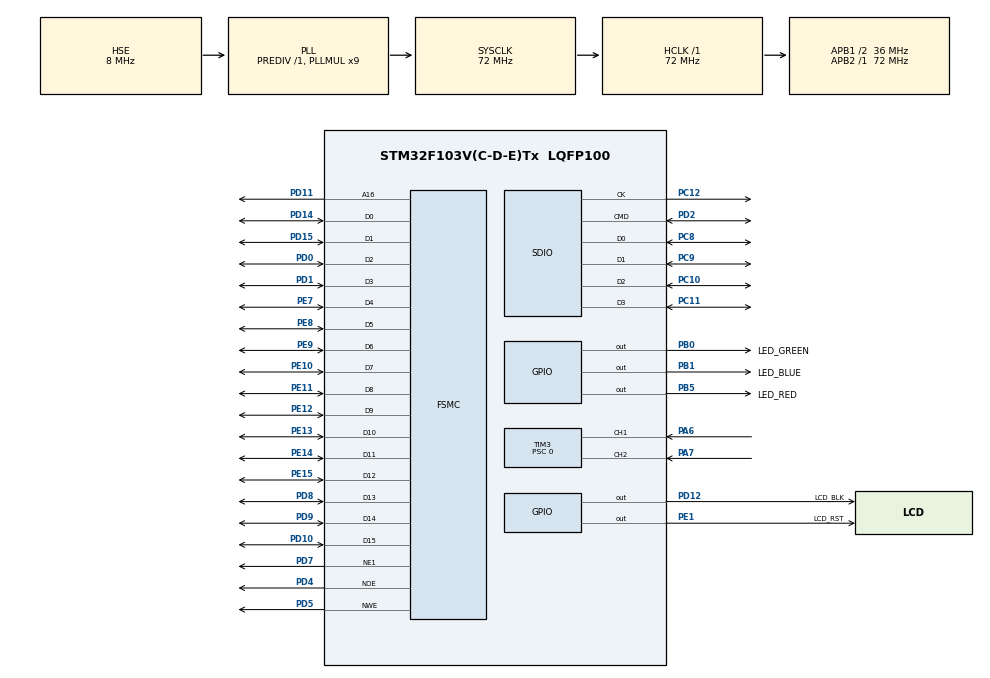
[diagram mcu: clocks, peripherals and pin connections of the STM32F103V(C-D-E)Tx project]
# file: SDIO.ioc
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FATFS._MAX_SS=4096
FATFS._USE_FIND=1
FATFS._USE_LFN=2
Mcu.Family=STM32F1
Mcu.Name=STM32F103V(C-D-E)Tx
Mcu.Package=LQFP100
NVIC.PriorityGroup=NVIC_PRIORITYGROUP_4
OSC_IN.Mode=HSE-External-Oscillator
OSC_IN.Signal=RCC_OSC_IN
OSC_OUT.Mode=HSE-External-Oscillator
OSC_OUT.Signal=RCC_OSC_OUT
PA13.Mode=Serial_Wire
PA13.Signal=SYS_JTMS-SWDIO
PA14.Mode=Serial_Wire
PA14.Signal=SYS_JTCK-SWCLK
PA6.Signal=S_TIM3_CH1
PA7.Signal=S_TIM3_CH2
PB0.GPIO_Label=LED_GREEN
PB0.GPIO_Speed=GPIO_SPEED_FREQ_HIGH
PB0.PinState=GPIO_PIN_SET
PB0.Signal=GPIO_Output
PB1.GPIO_Label=LED_BLUE
PB1.GPIO_Speed=GPIO_SPEED_FREQ_HIGH
PB1.PinState=GPIO_PIN_SET
PB1.Signal=GPIO_Output
PB5.GPIO_Label=LED_RED
PB5.GPIO_Speed=GPIO_SPEED_FREQ_HIGH
PB5.PinState=GPIO_PIN_SET
PB5.Signal=GPIO_Output
PC10.Mode=SD_4_bits_Wide_bus
PC10.Signal=SDIO_D2
PC11.Mode=SD_4_bits_Wide_bus
PC11.Signal=SDIO_D3
PC12.Mode=SD_4_bits_Wide_bus
PC12.Signal=SDIO_CK
PC14-OSC32_IN.Mode=LSE-External-Oscillator
PC14-OSC32_IN.Signal=RCC_OSC32_IN
PC15-OSC32_OUT.Mode=LSE-External-Oscillator
PC15-OSC32_OUT.Signal=RCC_OSC32_OUT
PC8.Mode=SD_4_bits_Wide_bus
PC8.Signal=SDIO_D0
PC9.Mode=SD_4_bits_Wide_bus
PC9.Signal=SDIO_D1
PD0.Mode=16b-d1
PD0.Signal=FSMC_D2
PD1.Mode=16b-d1
PD1.Signal=FSMC_D3
PD10.Mode=16b-d1
PD10.Signal=FSMC_D15
PD11.Mode=A16_1
PD11.Signal=FSMC_A16
PD12.GPIO_Label=LCD_BLK
PD12.GPIO_Speed=GPIO_SPEED_FREQ_HIGH
PD12.Signal=GPIO_Output
PD14.Mode=16b-d1
PD14.Signal=FSMC_D0
PD15.Mode=16b-d1
PD15.Signal=FSMC_D1
PD2.Mode=SD_4_bits_Wide_bus
PD2.Signal=SDIO_CMD
PD4.Mode=Lcd1
PD4.Signal=FSMC_NOE
PD5.Mode=Lcd1
PD5.Signal=FSMC_NWE
PD7.Mode=NorPsramChipSelect1_1
PD7.Signal=FSMC_NE1
PD8.Mode=16b-d1
PD8.Signal=FSMC_D13
PD9.Mode=16b-d1
PD9.Signal=FSMC_D14
PE1.GPIO_Label=LCD_RST
PE1.GPIO_Speed=GPIO_SPEED_FREQ_HIGH
PE1.Signal=GPIO_Output
PE10.Mode=16b-d1
PE10.Signal=FSMC_D7
PE11.Mode=16b-d1
PE11.Signal=FSMC_D8
PE12.Mode=16b-d1
PE12.Signal=FSMC_D9
PE13.Mode=16b-d1
PE13.Signal=FSMC_D10
PE14.Mode=16b-d1
PE14.Signal=FSMC_D11
PE15.Mode=16b-d1
PE15.Signal=FSMC_D12
PE7.Mode=16b-d1
PE7.Signal=FSMC_D4
PE8.Mode=16b-d1
PE8.Signal=FSMC_D5
PE9.Mode=16b-d1
PE9.Signal=FSMC_D6
ProjectManager.HeapSize=0x2000
ProjectManager.StackSize=0x4000
ProjectManager.TargetToolchain=MDK-ARM V5
RCC.AHBFreq_Value=72000000
RCC.APB1CLKDivider=RCC_HCLK_DIV2
RCC.APB1Freq_Value=36000000
RCC.APB1TimFreq_Value=72000000
RCC.APB2Freq_Value=72000000
RCC.APB2TimFreq_Value=72000000
RCC.HCLKFreq_Value=72000000
RCC.PLLMUL=RCC_PLL_MUL9
RCC.PLLSourceVirtual=RCC_PLLSOURCE_HSE
RCC.SYSCLKFreq_VALUE=72000000
RCC.SYSCLKSource=RCC_SYSCLKSOURCE_PLLCLK
RCC.USBFreq_Value=72000000
SDIO.ClockDiv=4
SDIO.HardwareFlowControl=SDIO_HARDWARE_FLOW_CONTROL_ENABLE
SH.S_TIM3_CH1.0=TIM3_CH1,Encoder_Interface
SH.S_TIM3_CH2.0=TIM3_CH2,Encoder_Interface
TIM3.EncoderMode=TIM_ENCODERMODE_TI12
TIM3.IC1Filter=15
TIM3.IC2Filter=15
TIM3.Period=0xffff
TIM3.Prescaler=0
VP_FATFS_VS_SDIO.Mode=SDIO
board=custom

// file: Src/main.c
/* USER CODE BEGIN Header */
/**
  ******************************************************************************
  * @file           : main.c
  * @brief          : Main program body
  ******************************************************************************
  * @attention
  *
  * <h2><center>&copy; Copyright (c) 2021 STMicroelectronics.
  * All rights reserved.</center></h2>
  *
  * This software component is licensed by ST under Ultimate Liberty license
  * SLA0044, the "License"; You may not use this file except in compliance with
  * the License. You may obtain a copy of the License at:
  *                             www.st.com/SLA0044
  *
  ******************************************************************************
  */
/* USER CODE END Header */
#include "main.h"
#include "fatfs.h"

/* USER CODE BEGIN Includes */
#include "lcd.h"
/* USER CODE END Includes */

SD_HandleTypeDef hsd;

TIM_HandleTypeDef htim3;

SRAM_HandleTypeDef hsram1;

void SystemClock_Config(void);
static void MX_GPIO_Init(void);
static void MX_SDIO_SD_Init(void);
static void MX_FSMC_Init(void);
static void MX_TIM3_Init(void);

int main(void)
{

  /* MCU Configuration--------------------------------------------------------*/

  /* Reset of all peripherals, Initializes the Flash interface and the Systick. */
  HAL_Init();

  /* Configure the system clock */
  SystemClock_Config();

  /* Initialize all configured peripherals */
  MX_GPIO_Init();
  MX_SDIO_SD_Init();
  MX_FATFS_Init();
  MX_FSMC_Init();
  MX_TIM3_Init();
  /* USER CODE BEGIN 2 */

	LCD_INIT();
	HAL_TIM_Encoder_Start(&htim3, TIM_CHANNEL_ALL);
	FATFS myFATFS;
	FIL myFILE;
	UINT numberofbytes;
	char myPath[] = "TEST.TXT\0";
	char myData[] = "Hello World\0";
	FRESULT res;

	DIR dir;
	FILINFO fno;
	static TCHAR lfname[_MAX_LFN];
	fno.lfsize = _MAX_LFN - 1;
	fno.lfname = lfname;
	uint8_t count = 0;

	res = f_mount(&myFATFS,SDPath,1);

	uint8_t ReadBuffer[10] = {0};
	UINT fnum = 0;
	uint8_t string[1024] = {0};

	if (res == FR_OK)
	{
		scan_file("0:/MUSIC");
		wav_read_header("Sample-wav-file.wav");
		/*
		res = f_findfirst(&dir, &fno, "0:/","*.*");
		sprintf(string, "first file name: %s", fno.fname);
		LCD_DrawString(0,0,string);
		while(res == FR_OK){

			count++;
			res = f_readdir(&dir,&fno);
			if( fno.fname[0] == 0 ){
				break;
			}
			sprintf(string, "name: %s", fno.lfname);
			LCD_DrawString(0,count*20,string);
		}
		*/
		//HAL_GPIO_WritePin(GPIOB, GPIO_PIN_0,GPIO_PIN_RESET);

		//** write Data  **//
		//f_open(&myFILE, myPath, FA_WRITE |FA_CREATE_ALWAYS);
		//f_write(&myFILE, myData, sizeof(myData), &numberofbytes);
		//** End of write Data  **//

		//** Read Data  **//
		/*
		char MP3Path[] = "Kalimba.mp3\0";
		f_open(&myFILE, MP3Path, FA_READ |FA_OPEN_EXISTING);
		res = f_read(&myFILE, ReadBuffer, sizeof(ReadBuffer), &fnum);
		if(res == FR_OK){
			sprintf(string, "fnum: %d", fnum);
			LCD_DrawString(0,0,string);
			sprintf(string, "Data: %s", ReadBuffer);
			LCD_DrawString(0,20,string);
			for(int i = 0; i < sizeof(ReadBuffer); i++){
				sprintf(string, "Data_Byte%d: %x", i, *(ReadBuffer+i));
				LCD_DrawString(0,40 + i*20,string);
				if(i == sizeof(ReadBuffer) - 1){
					uint8_t raw_size[] = {*(ReadBuffer + 6), *(ReadBuffer + 7), *(ReadBuffer + 8), *(ReadBuffer + 9)};
					uint32_t decoded_size = (raw_size[0] & 0x7F) << 21 | (raw_size[1] & 0x7F) << 14  | (raw_size[2] & 0x7F) << 7 | (raw_size[3] & 0x7F);
					sprintf(string, "decoded size:%d",decoded_size);
					LCD_DrawString(0,40 + i*20 + 20,string);
				}
			}

		}
		else{
			LCD_DrawString(0,0,"CANNOT OPEN");
		}
		*/
		//** End of Read Data  **//

		f_close(&myFILE);
		HAL_Delay(1000);
		//HAL_GPIO_WritePin(GPIOB, GPIO_PIN_1,GPIO_PIN_RESET);
		//LCD_DrawString(0,100,"GOOD");
 	}
	else
	{
		HAL_GPIO_WritePin(GPIOB, GPIO_PIN_5,GPIO_PIN_RESET);
		LCD_DrawString(0,0,"GGWP");
	}

	uint32_t encoder_value = (uint32_t)(__HAL_TIM_GET_COUNTER(&htim3));
  /* USER CODE END 2 */

  /* Infinite loop */
	while(1)
  {

    /* USER CODE BEGIN 3 */
		encoder_value = (uint32_t)(__HAL_TIM_GET_COUNTER(&htim3));
		sprintf(string, "encoder value:%d          ",encoder_value);
		LCD_DrawString(0,300,string);
  }
  /* USER CODE END 3 */
}

void SystemClock_Config(void)
{
  RCC_OscInitTypeDef RCC_OscInitStruct = {0};
  RCC_ClkInitTypeDef RCC_ClkInitStruct = {0};

  /** Initializes the RCC Oscillators according to the specified parameters
  * in the RCC_OscInitTypeDef structure.
  */
  RCC_OscInitStruct.OscillatorType = RCC_OSCILLATORTYPE_HSE;
  RCC_OscInitStruct.HSEState = RCC_HSE_ON;
  RCC_OscInitStruct.HSEPredivValue = RCC_HSE_PREDIV_DIV1;
  RCC_OscInitStruct.HSIState = RCC_HSI_ON;
  RCC_OscInitStruct.PLL.PLLState = RCC_PLL_ON;
  RCC_OscInitStruct.PLL.PLLSource = RCC_PLLSOURCE_HSE;
  RCC_OscInitStruct.PLL.PLLMUL = RCC_PLL_MUL9;
  if (HAL_RCC_OscConfig(&RCC_OscInitStruct) != HAL_OK)
  {
    Error_Handler();
  }
  /** Initializes the CPU, AHB and APB buses clocks
  */
  RCC_ClkInitStruct.ClockType = RCC_CLOCKTYPE_HCLK|RCC_CLOCKTYPE_SYSCLK
                              |RCC_CLOCKTYPE_PCLK1|RCC_CLOCKTYPE_PCLK2;
  RCC_ClkInitStruct.SYSCLKSource = RCC_SYSCLKSOURCE_PLLCLK;
  RCC_ClkInitStruct.AHBCLKDivider = RCC_SYSCLK_DIV1;
  RCC_ClkInitStruct.APB1CLKDivider = RCC_HCLK_DIV2;
  RCC_ClkInitStruct.APB2CLKDivider = RCC_HCLK_DIV1;

  if (HAL_RCC_ClockConfig(&RCC_ClkInitStruct, FLASH_LATENCY_2) != HAL_OK)
  {
    Error_Handler();
  }
}

static void MX_SDIO_SD_Init(void)
{

  hsd.Instance = SDIO;
  hsd.Init.ClockEdge = SDIO_CLOCK_EDGE_RISING;
  hsd.Init.ClockBypass = SDIO_CLOCK_BYPASS_DISABLE;
  hsd.Init.ClockPowerSave = SDIO_CLOCK_POWER_SAVE_DISABLE;
  hsd.Init.BusWide = SDIO_BUS_WIDE_1B;
  hsd.Init.HardwareFlowControl = SDIO_HARDWARE_FLOW_CONTROL_ENABLE;
  hsd.Init.ClockDiv = 4;

}

static void MX_TIM3_Init(void)
{

  TIM_Encoder_InitTypeDef sConfig = {0};
  TIM_MasterConfigTypeDef sMasterConfig = {0};

  htim3.Instance = TIM3;
  htim3.Init.Prescaler = 0;
  htim3.Init.CounterMode = TIM_COUNTERMODE_UP;
  htim3.Init.Period = 0xffff;
  htim3.Init.ClockDivision = TIM_CLOCKDIVISION_DIV1;
  htim3.Init.AutoReloadPreload = TIM_AUTORELOAD_PRELOAD_DISABLE;
  sConfig.EncoderMode = TIM_ENCODERMODE_TI12;
  sConfig.IC1Polarity = TIM_ICPOLARITY_RISING;
  sConfig.IC1Selection = TIM_ICSELECTION_DIRECTTI;
  sConfig.IC1Prescaler = TIM_ICPSC_DIV1;
  sConfig.IC1Filter = 15;
  sConfig.IC2Polarity = TIM_ICPOLARITY_RISING;
  sConfig.IC2Selection = TIM_ICSELECTION_DIRECTTI;
  sConfig.IC2Prescaler = TIM_ICPSC_DIV1;
  sConfig.IC2Filter = 15;
  if (HAL_TIM_Encoder_Init(&htim3, &sConfig) != HAL_OK)
  {
    Error_Handler();
  }
  sMasterConfig.MasterOutputTrigger = TIM_TRGO_RESET;
  sMasterConfig.MasterSlaveMode = TIM_MASTERSLAVEMODE_DISABLE;
  if (HAL_TIMEx_MasterConfigSynchronization(&htim3, &sMasterConfig) != HAL_OK)
  {
    Error_Handler();
  }

}

static void MX_GPIO_Init(void)
{
  GPIO_InitTypeDef GPIO_InitStruct = {0};

  /* GPIO Ports Clock Enable */
  __HAL_RCC_GPIOC_CLK_ENABLE();
  __HAL_RCC_GPIOA_CLK_ENABLE();
  __HAL_RCC_GPIOB_CLK_ENABLE();
  __HAL_RCC_GPIOE_CLK_ENABLE();
  __HAL_RCC_GPIOD_CLK_ENABLE();

  /*Configure GPIO pin Output Level */
  HAL_GPIO_WritePin(GPIOB, LED_GREEN_Pin|LED_BLUE_Pin|LED_RED_Pin, GPIO_PIN_SET);

  /*Configure GPIO pin Output Level */
  HAL_GPIO_WritePin(LCD_BLK_GPIO_Port, LCD_BLK_Pin, GPIO_PIN_RESET);

  /*Configure GPIO pin Output Level */
  HAL_GPIO_WritePin(LCD_RST_GPIO_Port, LCD_RST_Pin, GPIO_PIN_RESET);

  /*Configure GPIO pins : LED_GREEN_Pin LED_BLUE_Pin LED_RED_Pin */
  GPIO_InitStruct.Pin = LED_GREEN_Pin|LED_BLUE_Pin|LED_RED_Pin;
  GPIO_InitStruct.Mode = GPIO_MODE_OUTPUT_PP;
  GPIO_InitStruct.Pull = GPIO_NOPULL;
  GPIO_InitStruct.Speed = GPIO_SPEED_FREQ_HIGH;
  HAL_GPIO_Init(GPIOB, &GPIO_InitStruct);

  /*Configure GPIO pin : LCD_BLK_Pin */
  GPIO_InitStruct.Pin = LCD_BLK_Pin;
  GPIO_InitStruct.Mode = GPIO_MODE_OUTPUT_PP;
  GPIO_InitStruct.Pull = GPIO_NOPULL;
  GPIO_InitStruct.Speed = GPIO_SPEED_FREQ_HIGH;
  HAL_GPIO_Init(LCD_BLK_GPIO_Port, &GPIO_InitStruct);

  /*Configure GPIO pin : LCD_RST_Pin */
  GPIO_InitStruct.Pin = LCD_RST_Pin;
  GPIO_InitStruct.Mode = GPIO_MODE_OUTPUT_PP;
  GPIO_InitStruct.Pull = GPIO_NOPULL;
  GPIO_InitStruct.Speed = GPIO_SPEED_FREQ_HIGH;
  HAL_GPIO_Init(LCD_RST_GPIO_Port, &GPIO_InitStruct);

}

/* FSMC initialization function */
static void MX_FSMC_Init(void)
{

  FSMC_NORSRAM_TimingTypeDef Timing = {0};

  /** Perform the SRAM1 memory initialization sequence
  */
  hsram1.Instance = FSMC_NORSRAM_DEVICE;
  hsram1.Extended = FSMC_NORSRAM_EXTENDED_DEVICE;
  /* hsram1.Init */
  hsram1.Init.NSBank = FSMC_NORSRAM_BANK1;
  hsram1.Init.DataAddressMux = FSMC_DATA_ADDRESS_MUX_DISABLE;
  hsram1.Init.MemoryType = FSMC_MEMORY_TYPE_SRAM;
  hsram1.Init.MemoryDataWidth = FSMC_NORSRAM_MEM_BUS_WIDTH_16;
  hsram1.Init.BurstAccessMode = FSMC_BURST_ACCESS_MODE_DISABLE;
  hsram1.Init.WaitSignalPolarity = FSMC_WAIT_SIGNAL_POLARITY_LOW;
  hsram1.Init.WrapMode = FSMC_WRAP_MODE_DISABLE;
  hsram1.Init.WaitSignalActive = FSMC_WAIT_TIMING_BEFORE_WS;
  hsram1.Init.WriteOperation = FSMC_WRITE_OPERATION_ENABLE;
  hsram1.Init.WaitSignal = FSMC_WAIT_SIGNAL_DISABLE;
  hsram1.Init.ExtendedMode = FSMC_EXTENDED_MODE_DISABLE;
  hsram1.Init.AsynchronousWait = FSMC_ASYNCHRONOUS_WAIT_DISABLE;
  hsram1.Init.WriteBurst = FSMC_WRITE_BURST_DISABLE;
  /* Timing */
  Timing.AddressSetupTime = 15;
  Timing.AddressHoldTime = 15;
  Timing.DataSetupTime = 255;
  Timing.BusTurnAroundDuration = 15;
  Timing.CLKDivision = 16;
  Timing.DataLatency = 17;
  Timing.AccessMode = FSMC_ACCESS_MODE_A;
  /* ExtTiming */

  if (HAL_SRAM_Init(&hsram1, &Timing, NULL) != HAL_OK)
  {
    Error_Handler( );
  }

  /** Disconnect NADV
  */

  __HAL_AFIO_FSMCNADV_DISCONNECTED();

}

void Error_Handler(void)
{
  __disable_irq();
  while (1)
  {
  }
}

/************************ (C) COPYRIGHT STMicroelectronics *****END OF FILE****/
